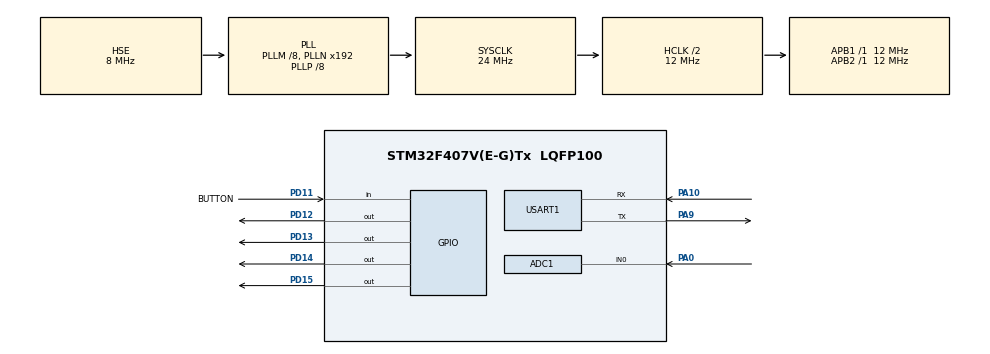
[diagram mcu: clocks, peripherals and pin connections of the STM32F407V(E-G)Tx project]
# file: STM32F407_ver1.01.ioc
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ADC1.Channel-0\#ChannelRegularConversion=ADC_CHANNEL_0
ADC1.NbrOfConversionFlag=1
ADC1.Rank-0\#ChannelRegularConversion=1
ADC1.SamplingTime-0\#ChannelRegularConversion=ADC_SAMPLETIME_3CYCLES
ADC1.master=1
FREERTOS.Tasks01=defaultTask,0,128,StartDefaultTask,Default,NULL,Dynamic,NULL,NULL;Uart,-3,128,vMainUART,As external,NULL,Dynamic,NULL,NULL;uart2,-3,128,vMainUART2,Default,NULL,Dynamic,NULL,NULL
Mcu.Family=STM32F4
Mcu.Name=STM32F407V(E-G)Tx
Mcu.Package=LQFP100
NVIC.PriorityGroup=NVIC_PRIORITYGROUP_4
NVIC.TIM1_UP_TIM10_IRQn=true\:0\:0\:false\:false\:true\:false\:false
NVIC.TIM6_DAC_IRQn=true\:5\:0\:false\:false\:true\:true\:true
NVIC.TIM7_IRQn=true\:5\:0\:false\:false\:true\:true\:true
NVIC.TimeBase=TIM1_UP_TIM10_IRQn
NVIC.TimeBaseIP=TIM1
NVIC.USART1_IRQn=true\:5\:0\:false\:false\:true\:true\:true
PA0-WKUP.Signal=ADCx_IN0
PA10.Mode=Asynchronous
PA10.Signal=USART1_RX
PA9.Mode=Asynchronous
PA9.Signal=USART1_TX
PD11.GPIO_Label=BUTTON
PD11.Signal=GPIO_Input
PD12.Signal=GPIO_Output
PD13.Signal=GPIO_Output
PD14.Signal=GPIO_Output
PD15.Signal=GPIO_Output
PH0-OSC_IN.Mode=HSE-External-Oscillator
PH0-OSC_IN.Signal=RCC_OSC_IN
PH1-OSC_OUT.Mode=HSE-External-Oscillator
PH1-OSC_OUT.Signal=RCC_OSC_OUT
ProjectManager.HeapSize=0x200
ProjectManager.StackSize=0x400
ProjectManager.TargetToolchain=TrueSTUDIO
RCC.48MHZClocksFreq_Value=48000000
RCC.AHBCLKDivider=RCC_SYSCLK_DIV2
RCC.AHBFreq_Value=12000000
RCC.APB1Freq_Value=12000000
RCC.APB1TimFreq_Value=12000000
RCC.APB2Freq_Value=12000000
RCC.APB2TimFreq_Value=12000000
RCC.CortexFreq_Value=12000000
RCC.HCLKFreq_Value=12000000
RCC.HSE_VALUE=8000000
RCC.HSI_VALUE=16000000
RCC.LSE_VALUE=32768
RCC.PLLM=8
RCC.PLLP=RCC_PLLP_DIV8
RCC.PLLSourceVirtual=RCC_PLLSOURCE_HSE
RCC.SYSCLKFreq_VALUE=24000000
RCC.SYSCLKSource=RCC_SYSCLKSOURCE_PLLCLK
RCC.VCOOutputFreq_Value=192000000
SH.ADCx_IN0.0=ADC1_IN0,IN0
TIM6.Period=1
TIM6.Prescaler=12000
TIM6.TIM_MasterOutputTrigger=TIM_TRGO_UPDATE
TIM7.Period=500
TIM7.Prescaler=12000
TIM7.TIM_MasterOutputTrigger=TIM_TRGO_UPDATE
USART1.VirtualMode=VM_ASYNC
VP_FREERTOS_VS_ENABLE.Mode=Enabled
VP_SYS_VS_tim1.Mode=TIM1
VP_TIM6_VS_ClockSourceINT.Mode=Enable_Timer
VP_TIM7_VS_ClockSourceINT.Mode=Enable_Timer
board=STM32F407_ver1.01

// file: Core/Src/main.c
/**
  ******************************************************************************
  * @file           : main.c
  * @brief          : Main program body
  ******************************************************************************
  * This notice applies to any and all portions of this file
  * that are not between comment pairs USER CODE BEGIN and
  * USER CODE END. Other portions of this file, whether
  * inserted by the user or by software development tools
  * are owned by their respective copyright owners.
  *
  * Copyright (c) 2018 STMicroelectronics International N.V.
  * All rights reserved.
  *
  * Redistribution and use in source and binary forms, with or without
  * modification, are permitted, provided that the following conditions are met:
  *
  * 1. Redistribution of source code must retain the above copyright notice,
  *    this list of conditions and the following disclaimer.
  * 2. Redistributions in binary form must reproduce the above copyright notice,
  *    this list of conditions and the following disclaimer in the documentation
  *    and/or other materials provided with the distribution.
  * 3. Neither the name of STMicroelectronics nor the names of other
  *    contributors to this software may be used to endorse or promote products
  *    derived from this software without specific written permission.
  * 4. This software, including modifications and/or derivative works of this
  *    software, must execute solely and exclusively on microcontroller or
  *    microprocessor devices manufactured by or for STMicroelectronics.
  * 5. Redistribution and use of this software other than as permitted under
  *    this license is void and will automatically terminate your rights under
  *    this license.
  *
  * THIS SOFTWARE IS PROVIDED BY STMICROELECTRONICS AND CONTRIBUTORS "AS IS"
  * AND ANY EXPRESS, IMPLIED OR STATUTORY WARRANTIES, INCLUDING, BUT NOT
  * LIMITED TO, THE IMPLIED WARRANTIES OF MERCHANTABILITY, FITNESS FOR A
  * PARTICULAR PURPOSE AND NON-INFRINGEMENT OF THIRD PARTY INTELLECTUAL PROPERTY
  * RIGHTS ARE DISCLAIMED TO THE FULLEST EXTENT PERMITTED BY LAW. IN NO EVENT
  * SHALL STMICROELECTRONICS OR CONTRIBUTORS BE LIABLE FOR ANY DIRECT, INDIRECT,
  * INCIDENTAL, SPECIAL, EXEMPLARY, OR CONSEQUENTIAL DAMAGES (INCLUDING, BUT NOT
  * LIMITED TO, PROCUREMENT OF SUBSTITUTE GOODS OR SERVICES; LOSS OF USE, DATA,
  * OR PROFITS; OR BUSINESS INTERRUPTION) HOWEVER CAUSED AND ON ANY THEORY OF
  * LIABILITY, WHETHER IN CONTRACT, STRICT LIABILITY, OR TORT (INCLUDING
  * NEGLIGENCE OR OTHERWISE) ARISING IN ANY WAY OUT OF THE USE OF THIS SOFTWARE,
  * EVEN IF ADVISED OF THE POSSIBILITY OF SUCH DAMAGE.
  *
  ******************************************************************************
  */
#include "main.h"
#include "stm32f4xx_hal.h"
#include "cmsis_os.h"

ADC_HandleTypeDef hadc1;

TIM_HandleTypeDef htim6;
TIM_HandleTypeDef htim7;

UART_HandleTypeDef huart1;

osThreadId defaultTaskHandle;
osThreadId UartHandle;
osThreadId uart2Handle;

/* USER CODE BEGIN PV */
/* Private variables ---------------------------------------------------------*/

/* USER CODE END PV */

void SystemClock_Config(void);
static void MX_GPIO_Init(void);
static void MX_TIM6_Init(void);
static void MX_TIM7_Init(void);
static void MX_ADC1_Init(void);
static void MX_USART1_UART_Init(void);
void StartDefaultTask(void const * argument);
extern void vMainUART(void const * argument);
void vMainUART2(void const * argument);

/* USER CODE BEGIN PFP */
/* Private function prototypes -----------------------------------------------*/
//osStatus osDelay (uint32_t millisec);
void startInit(void);
void vMainTask1( void *pvParameters );
void vMainTaskMake(void);
/* USER CODE END PFP */

int main(void)
{

  /* MCU Configuration----------------------------------------------------------*/

  /* Reset of all peripherals, Initializes the Flash interface and the Systick. */
  HAL_Init();

  /* Configure the system clock */
  SystemClock_Config();

  /* Initialize all configured peripherals */
  MX_GPIO_Init();
  MX_TIM6_Init();
  MX_TIM7_Init();
  MX_ADC1_Init();
  MX_USART1_UART_Init();
  /* USER CODE BEGIN 2 */
  startInit();
  /* USER CODE END 2 */

  /* Create the thread(s) */
  /* definition and creation of defaultTask */
  osThreadDef(defaultTask, StartDefaultTask, osPriorityNormal, 0, 128);
  defaultTaskHandle = osThreadCreate(osThread(defaultTask), NULL);

  /* definition and creation of Uart */
  osThreadDef(Uart, vMainUART, 2, 0, 128);
  UartHandle = osThreadCreate(osThread(Uart), NULL);

  /* definition and creation of uart2 */
  osThreadDef(uart2, vMainUART2, osPriorityIdle, 0, 128);
  uart2Handle = osThreadCreate(osThread(uart2), NULL);

  /* USER CODE BEGIN RTOS_THREADS */
  /* add threads, ... */
  //vMainTaskMake();
  //vMainTaskMake2();
  /* USER CODE END RTOS_THREADS */

  /* Start scheduler */
  osKernelStart();

  /* We should never get here as control is now taken by the scheduler */

  /* Infinite loop */
  while (1)
  {

  }

}

void SystemClock_Config(void)
{

  RCC_OscInitTypeDef RCC_OscInitStruct;
  RCC_ClkInitTypeDef RCC_ClkInitStruct;

    /**Configure the main internal regulator output voltage
    */
  __HAL_RCC_PWR_CLK_ENABLE();

  __HAL_PWR_VOLTAGESCALING_CONFIG(PWR_REGULATOR_VOLTAGE_SCALE1);

    /**Initializes the CPU, AHB and APB busses clocks
    */
  RCC_OscInitStruct.OscillatorType = RCC_OSCILLATORTYPE_HSE;
  RCC_OscInitStruct.HSEState = RCC_HSE_ON;
  RCC_OscInitStruct.PLL.PLLState = RCC_PLL_ON;
  RCC_OscInitStruct.PLL.PLLSource = RCC_PLLSOURCE_HSE;
  RCC_OscInitStruct.PLL.PLLM = 8;
  RCC_OscInitStruct.PLL.PLLN = 192;
  RCC_OscInitStruct.PLL.PLLP = RCC_PLLP_DIV8;
  RCC_OscInitStruct.PLL.PLLQ = 4;
  if (HAL_RCC_OscConfig(&RCC_OscInitStruct) != HAL_OK)
  {
    _Error_Handler(__FILE__, __LINE__);
  }

    /**Initializes the CPU, AHB and APB busses clocks
    */
  RCC_ClkInitStruct.ClockType = RCC_CLOCKTYPE_HCLK|RCC_CLOCKTYPE_SYSCLK
                              |RCC_CLOCKTYPE_PCLK1|RCC_CLOCKTYPE_PCLK2;
  RCC_ClkInitStruct.SYSCLKSource = RCC_SYSCLKSOURCE_PLLCLK;
  RCC_ClkInitStruct.AHBCLKDivider = RCC_SYSCLK_DIV2;
  RCC_ClkInitStruct.APB1CLKDivider = RCC_HCLK_DIV1;
  RCC_ClkInitStruct.APB2CLKDivider = RCC_HCLK_DIV1;

  if (HAL_RCC_ClockConfig(&RCC_ClkInitStruct, FLASH_LATENCY_0) != HAL_OK)
  {
    _Error_Handler(__FILE__, __LINE__);
  }

    /**Configure the Systick interrupt time
    */
  HAL_SYSTICK_Config(HAL_RCC_GetHCLKFreq()/1000);

    /**Configure the Systick
    */
  HAL_SYSTICK_CLKSourceConfig(SYSTICK_CLKSOURCE_HCLK);

  /* SysTick_IRQn interrupt configuration */
  HAL_NVIC_SetPriority(SysTick_IRQn, 15, 0);
}

/* ADC1 init function */
static void MX_ADC1_Init(void)
{

  ADC_ChannelConfTypeDef sConfig;

    /**Configure the global features of the ADC (Clock, Resolution, Data Alignment and number of conversion)
    */
  hadc1.Instance = ADC1;
  hadc1.Init.ClockPrescaler = ADC_CLOCK_SYNC_PCLK_DIV2;
  hadc1.Init.Resolution = ADC_RESOLUTION_12B;
  hadc1.Init.ScanConvMode = DISABLE;
  hadc1.Init.ContinuousConvMode = DISABLE;
  hadc1.Init.DiscontinuousConvMode = DISABLE;
  hadc1.Init.ExternalTrigConvEdge = ADC_EXTERNALTRIGCONVEDGE_NONE;
  hadc1.Init.ExternalTrigConv = ADC_SOFTWARE_START;
  hadc1.Init.DataAlign = ADC_DATAALIGN_RIGHT;
  hadc1.Init.NbrOfConversion = 1;
  hadc1.Init.DMAContinuousRequests = DISABLE;
  hadc1.Init.EOCSelection = ADC_EOC_SINGLE_CONV;
  if (HAL_ADC_Init(&hadc1) != HAL_OK)
  {
    _Error_Handler(__FILE__, __LINE__);
  }

    /**Configure for the selected ADC regular channel its corresponding rank in the sequencer and its sample time.
    */
  sConfig.Channel = ADC_CHANNEL_0;
  sConfig.Rank = 1;
  sConfig.SamplingTime = ADC_SAMPLETIME_3CYCLES;
  if (HAL_ADC_ConfigChannel(&hadc1, &sConfig) != HAL_OK)
  {
    _Error_Handler(__FILE__, __LINE__);
  }

}

/* TIM6 init function */
static void MX_TIM6_Init(void)
{

  TIM_MasterConfigTypeDef sMasterConfig;

  htim6.Instance = TIM6;
  htim6.Init.Prescaler = 12000;
  htim6.Init.CounterMode = TIM_COUNTERMODE_UP;
  htim6.Init.Period = 1;
  if (HAL_TIM_Base_Init(&htim6) != HAL_OK)
  {
    _Error_Handler(__FILE__, __LINE__);
  }

  sMasterConfig.MasterOutputTrigger = TIM_TRGO_UPDATE;
  sMasterConfig.MasterSlaveMode = TIM_MASTERSLAVEMODE_DISABLE;
  if (HAL_TIMEx_MasterConfigSynchronization(&htim6, &sMasterConfig) != HAL_OK)
  {
    _Error_Handler(__FILE__, __LINE__);
  }

}

/* TIM7 init function */
static void MX_TIM7_Init(void)
{

  TIM_MasterConfigTypeDef sMasterConfig;

  htim7.Instance = TIM7;
  htim7.Init.Prescaler = 12000;
  htim7.Init.CounterMode = TIM_COUNTERMODE_UP;
  htim7.Init.Period = 500;
  if (HAL_TIM_Base_Init(&htim7) != HAL_OK)
  {
    _Error_Handler(__FILE__, __LINE__);
  }

  sMasterConfig.MasterOutputTrigger = TIM_TRGO_UPDATE;
  sMasterConfig.MasterSlaveMode = TIM_MASTERSLAVEMODE_DISABLE;
  if (HAL_TIMEx_MasterConfigSynchronization(&htim7, &sMasterConfig) != HAL_OK)
  {
    _Error_Handler(__FILE__, __LINE__);
  }

}

/* USART1 init function */
static void MX_USART1_UART_Init(void)
{

  huart1.Instance = USART1;
  huart1.Init.BaudRate = 115200;
  huart1.Init.WordLength = UART_WORDLENGTH_8B;
  huart1.Init.StopBits = UART_STOPBITS_1;
  huart1.Init.Parity = UART_PARITY_NONE;
  huart1.Init.Mode = UART_MODE_TX_RX;
  huart1.Init.HwFlowCtl = UART_HWCONTROL_NONE;
  huart1.Init.OverSampling = UART_OVERSAMPLING_16;
  if (HAL_UART_Init(&huart1) != HAL_OK)
  {
    _Error_Handler(__FILE__, __LINE__);
  }

}

/** Configure pins as
        * Analog
        * Input
        * Output
        * EVENT_OUT
        * EXTI
*/
static void MX_GPIO_Init(void)
{

  GPIO_InitTypeDef GPIO_InitStruct;

  /* GPIO Ports Clock Enable */
  __HAL_RCC_GPIOH_CLK_ENABLE();
  __HAL_RCC_GPIOA_CLK_ENABLE();
  __HAL_RCC_GPIOD_CLK_ENABLE();

  /*Configure GPIO pin Output Level */
  HAL_GPIO_WritePin(GPIOD, GPIO_PIN_12|GPIO_PIN_13|GPIO_PIN_14|GPIO_PIN_15, GPIO_PIN_RESET);

  /*Configure GPIO pin : BUTTON_Pin */
  GPIO_InitStruct.Pin = BUTTON_Pin;
  GPIO_InitStruct.Mode = GPIO_MODE_INPUT;
  GPIO_InitStruct.Pull = GPIO_NOPULL;
  HAL_GPIO_Init(BUTTON_GPIO_Port, &GPIO_InitStruct);

  /*Configure GPIO pins : PD12 PD13 PD14 PD15 */
  GPIO_InitStruct.Pin = GPIO_PIN_12|GPIO_PIN_13|GPIO_PIN_14|GPIO_PIN_15;
  GPIO_InitStruct.Mode = GPIO_MODE_OUTPUT_PP;
  GPIO_InitStruct.Pull = GPIO_NOPULL;
  GPIO_InitStruct.Speed = GPIO_SPEED_FREQ_LOW;
  HAL_GPIO_Init(GPIOD, &GPIO_InitStruct);

}

/* USER CODE BEGIN 4 */
//*********************************************************************************************************************************************************
//*********************************************************************************************************************************************************
void startInit(void)
{
	HAL_TIM_Base_Start(&htim7);
	HAL_TIM_Base_Start_IT(&htim7);
}

void vMainTaskMake(void)
{
	xTaskCreate(vMainTask1, (const char *)"TASK1", 128, NULL, 1, NULL); //configMINIMAL_STACK_SIZE
	//xTaskCreate();
}

void vMainTask1(void *pvParameters)
{
	while(1)
	{
		HAL_GPIO_TogglePin(GPIOD, GPIO_PIN_13);
		osDelay(200);
	}
	vTaskDelete(NULL);
}

/* USER CODE END 4 */

/* StartDefaultTask function */
void StartDefaultTask(void const * argument)
{

  /* USER CODE BEGIN 5 */
  /* Infinite loop */
  for(;;)
  {
	 // HAL_GPIO_TogglePin(GPIOD, GPIO_PIN_13);
	  osDelay(500);
  }
  vTaskDelete(NULL);
  /* USER CODE END 5 */
}

/* vMainUART2 function */
void vMainUART2(void const * argument)
{
  /* USER CODE BEGIN vMainUART2 */
  /* Infinite loop */
  for(;;)
  {
	  //HAL_GPIO_TogglePin(GPIOD, GPIO_PIN_12);
	  osDelay(2000);
  }
  /* USER CODE END vMainUART2 */
}

void HAL_TIM_PeriodElapsedCallback(TIM_HandleTypeDef *htim)
{
  if (htim->Instance == TIM1) {
    HAL_IncTick();
  }
}

void _Error_Handler(char *file, int line)
{
  while(1)
  {
  }
}

/************************ (C) COPYRIGHT STMicroelectronics *****END OF FILE****/
